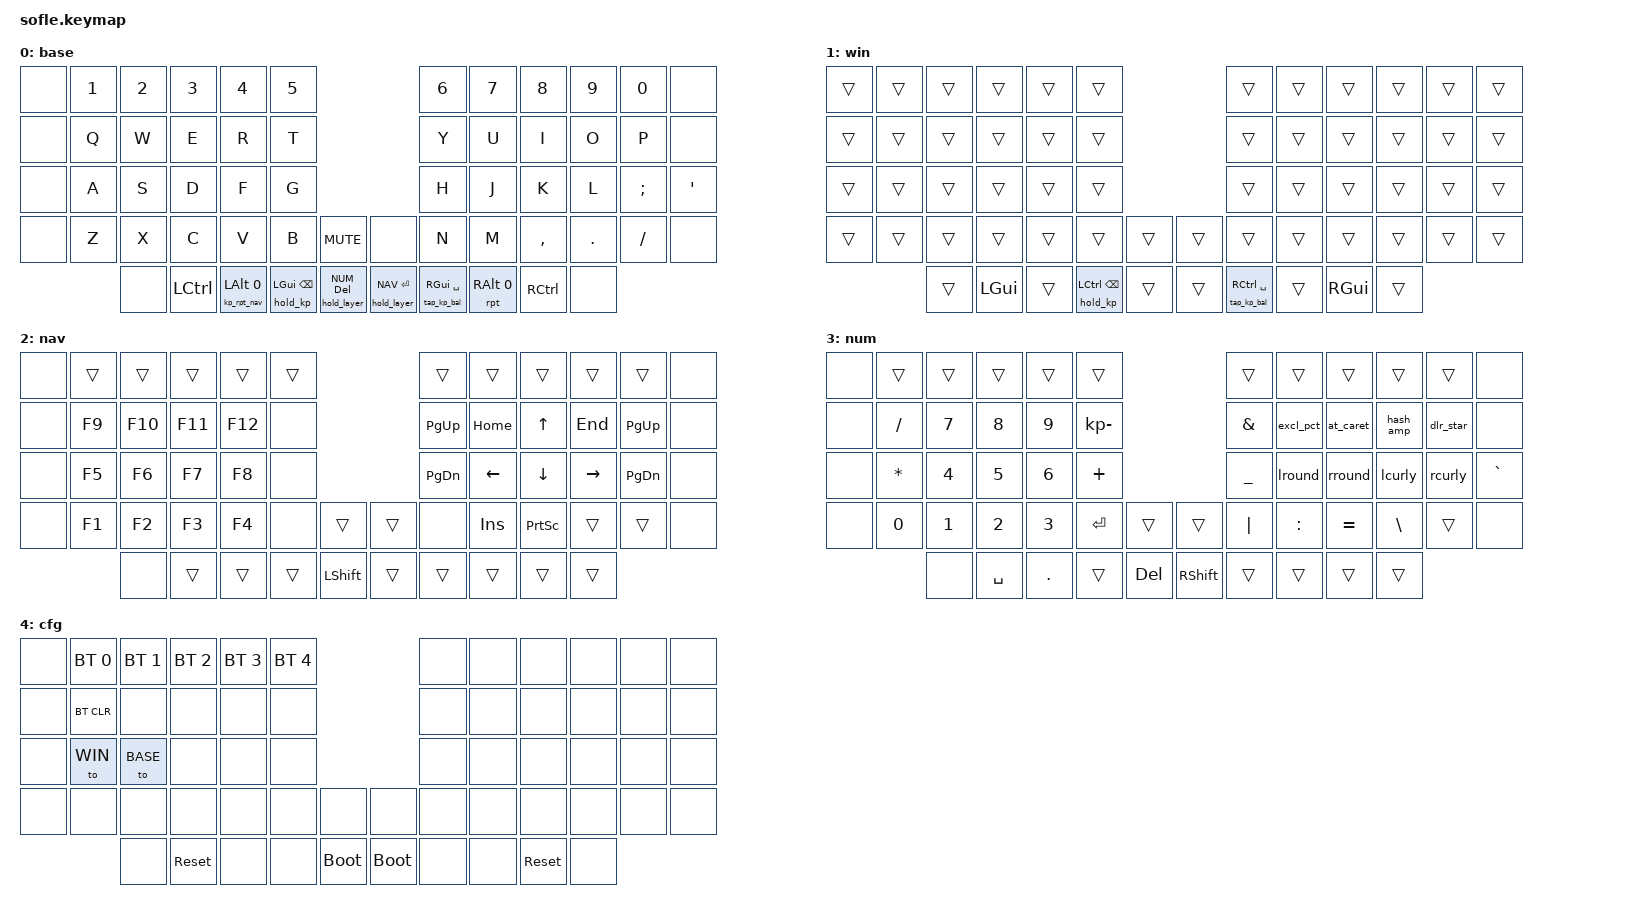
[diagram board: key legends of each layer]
/*
 * Copyright (c) 2020 The ZMK Contributors
 *
 * SPDX-License-Identifier: MIT
 */

#include <behaviors.dtsi>
#include <dt-bindings/zmk/keys.h>
#include <dt-bindings/zmk/bt.h>
#include "../zmk-nodefree-config/helper.h"
#include "../zmk-nodefree-config/keypos_def/keypos_60keys.h"

// layer shortcuts, must match order in which they are defined below
#define BASE 0
#define WIN 1
#define NAV 2
#define NUM 3
#define CFG 4

// Behaviours
#define TAPPING_TERM_MS 280
#define QUICK_TAP_MS 200

// Tap dance
ZMK_BEHAVIOR(rpt_mo, tap_dance,
    tapping-term-ms = <TAPPING_TERM_MS>;
    bindings = <&key_repeat>, <&mo NAV>;
)

// Hold taps
ZMK_BEHAVIOR(hold_kp, hold_tap,
    flavor = "hold-preferred";
    tapping-term-ms = <TAPPING_TERM_MS>;
    quick-tap-ms = <QUICK_TAP_MS>;
    bindings = <&kp>, <&kp>;
)
#define BK_GUI &hold_kp LGUI BSPC
#define BK_CTRL &hold_kp LCTRL BSPC

ZMK_BEHAVIOR(tap_kp_bal, hold_tap,
    flavor = "tap-preferred";
    tapping-term-ms = <TAPPING_TERM_MS>;
    quick-tap-ms = <QUICK_TAP_MS>;
    bindings = <&kp>, <&kp>;
)
#define SPC_GUI &tap_kp_bal RGUI SPACE
#define SPC_CTRL &tap_kp_bal RCTRL SPACE

ZMK_BEHAVIOR(rpt, hold_tap,
    flavor = "hold-preferred";
    tapping-term-ms = <TAPPING_TERM_MS>;
    quick-tap-ms = <QUICK_TAP_MS>;
    bindings = <&kp>, <&key_repeat>;
)
#define RPT_RALT &rpt RALT 0

ZMK_BEHAVIOR(kp_rpt_nav, hold_tap,
    flavor = "hold-preferred";
    tapping-term-ms = <TAPPING_TERM_MS>;
    quick-tap-ms = <QUICK_TAP_MS>;
    bindings = <&kp>, <&rpt_mo>;
)
#define NAV_RPT_LALT &kp_rpt_nav LALT 0

ZMK_BEHAVIOR(lalt_rpt, macro,
    bindings = <&rpt LALT 0>;
)

ZMK_BEHAVIOR(hold_layer, hold_tap,
    flavor = "hold-preferred";
    tapping-term-ms = <TAPPING_TERM_MS>;
    quick-tap-ms = <QUICK_TAP_MS>;
    bindings = <&mo>, <&kp>;
)
#define DEL_NUM &hold_layer NUM DEL
#define RET_NAV &hold_layer NAV RET

// Mod morphs
ZMK_BEHAVIOR(excl_pct, mod_morph,
    bindings = <&kp EXCL>, <&kp PRCNT>;
    mods = <(MOD_LSFT|MOD_RSFT)>;
)
ZMK_BEHAVIOR(at_caret, mod_morph,
    bindings = <&kp AT>, <&kp CARET>;
    mods = <(MOD_LSFT|MOD_RSFT)>;
)
ZMK_BEHAVIOR(hash_amp, mod_morph,
    bindings = <&kp HASH>, <&kp AMPS>;
    mods = <(MOD_LSFT|MOD_RSFT)>;
)
ZMK_BEHAVIOR(dlr_star, mod_morph,
    bindings = <&kp DLLR>, <&kp STAR>;
    mods = <(MOD_LSFT|MOD_RSFT)>;
)
ZMK_BEHAVIOR(lround, mod_morph,
    bindings = <&kp LPAR>, <&kp LBKT>;
    mods = <(MOD_LSFT|MOD_RSFT)>;
)
ZMK_BEHAVIOR(rround, mod_morph,
    bindings = <&kp RPAR>, <&kp RBKT>;
    mods = <(MOD_LSFT|MOD_RSFT)>;
)
ZMK_BEHAVIOR(lcurly, mod_morph,
    bindings = <&kp LBRC>, <&kp LT>;
    mods = <(MOD_LSFT|MOD_RSFT)>;
)
ZMK_BEHAVIOR(rcurly, mod_morph,
    bindings = <&kp RBRC>, <&kp GT>;
    mods = <(MOD_LSFT|MOD_RSFT)>;
)

// Num word
&num_word {
    layers = <NUM>;
};

// Caps word
&caps_word {
    continue-list = <UNDERSCORE BACKSPACE DELETE>;
};

// Sticky shift
&sk {
    release-after-ms = <2000>;
    quick-release;
};

#define combo_timeout 30
#define combo_timeout_long 60
#define combo_global_quick_tap 150
#define combo_global_quick_tap_long 300

/ {
    combos {
        compatible = "zmk,combos";
        combo_tab {
            timeout-ms = <combo_timeout>;
            global-quick-tap-ms = <combo_global_quick_tap>;
            key-positions = <LT1 LT2>;
            layers = <BASE WIN NAV NUM>;
            bindings = <&kp TAB>;
        };
        combo_shift_tab {
            timeout-ms = <combo_timeout>;
            global-quick-tap-ms = <combo_global_quick_tap>;
            key-positions = <LT2 LT3>;
            layers = <BASE WIN NAV NUM>;
            bindings = <&kp LS(TAB)>;
        };
        combo_esc {
            timeout-ms = <combo_timeout>;
            global-quick-tap-ms = <combo_global_quick_tap>;
            key-positions = <LT3 LT4>;
            layers = <BASE WIN NAV NUM>;
            bindings = <&kp ESC>;
        };
        combo_caps_word {
            timeout-ms = <combo_timeout_long>;
            key-positions = <RM2 RM3>;
            layers = <BASE WIN>;
            bindings = <&caps_word>;
        };
        combo_caps_lock {
            timeout-ms = <combo_timeout_long>;
            key-positions = <RM3 RM4>;
            layers = <BASE WIN>;
            bindings = <&kp CAPS>;
        };
        combo_num_word {
            timeout-ms = <combo_timeout>;
            global-quick-tap-ms = <combo_global_quick_tap>;
            key-positions = <LM2 LM3>;
            layers = <BASE WIN NUM>;
            bindings = <&num_word>;
        };
        combo_lshift {
            timeout-ms = <combo_timeout_long>;
            key-positions = <LM1 LM2>;
            layers = <BASE WIN NAV NUM>;
            bindings = <&kp LSHIFT>;
        };
        combo_sticky_lshift {
            timeout-ms = <combo_timeout_long>;
            global-quick-tap-ms = <combo_global_quick_tap>;
            key-positions = <LB2 LB3>;
            layers = <BASE WIN NAV NUM>;
            bindings = <&sk LSHIFT>;
        };
        combo_rshift {
            timeout-ms = <combo_timeout_long>;
            key-positions = <RM1 RM2>;
            layers = <BASE WIN NAV NUM>;
            bindings = <&kp RSHIFT>;
        };
        combo_LCFG {
            timeout-ms = <combo_timeout>;
            global-quick-tap-ms = <combo_global_quick_tap>;
            key-positions = <LN3 LN4>;
            layers = <BASE WIN NAV NUM>;
            bindings = <&tog CFG>;
        };
        combo_RCFG {
            timeout-ms = <combo_timeout>;
            global-quick-tap-ms = <combo_global_quick_tap>;
            key-positions = <RN3 RN4>;
            layers = <BASE WIN NAV NUM>;
            bindings = <&tog CFG>;
        };
        combo_LBASE {
            timeout-ms = <combo_timeout>;
            global-quick-tap-ms = <combo_global_quick_tap>;
            key-positions = <LB3 LB4>;
            layers = <BASE NAV NUM CFG>;
            bindings = <&to BASE>;
        };
        combo_RBASE {
            timeout-ms = <combo_timeout>;
            global-quick-tap-ms = <combo_global_quick_tap>;
            key-positions = <RB3 RB4>;
            layers = <BASE NAV NUM CFG>;
            bindings = <&to BASE>;
        };
        combo_NAV {
            timeout-ms = <combo_timeout>;
            global-quick-tap-ms = <combo_global_quick_tap>;
            key-positions = <RB1 RB2>;
            layers = <BASE WIN NAV>;
            bindings = <&tog NAV>;
        };
        combo_NUM {
            timeout-ms = <combo_timeout>;
            global-quick-tap-ms = <combo_global_quick_tap>;
            key-positions = <LB1 LB2>;
            layers = <BASE WIN NUM>;
            bindings = <&tog NUM>;
        };
    };

    behaviors {
        my_left_encoder: my_left_encoder {
            compatible = "zmk,behavior-sensor-rotate,alps,ec11";
            label = "LEFT_ENCODER";
            a-gpios = <&pro_micro 21 (GPIO_ACTIVE_HIGH | GPIO_PULL_UP)>;
            b-gpios = <&pro_micro 20 (GPIO_ACTIVE_HIGH | GPIO_PULL_UP)>;
            #sensor-binding-cells = <0>;
            steps = <80>;
            bindings = <&kp C_VOL_UP>, <&kp C_VOL_DN>;
        };

        my_right_encoder: my_right_encoder {
            compatible = "zmk,behavior-sensor-rotate,alps,ec11";
            label = "RIGHT_ENCODER";
            a-gpios = <&pro_micro 21 (GPIO_ACTIVE_HIGH | GPIO_PULL_UP)>;
            b-gpios = <&pro_micro 20 (GPIO_ACTIVE_HIGH | GPIO_PULL_UP)>;
            #sensor-binding-cells = <0>;
            steps = <80>;
            bindings = <&kp PG_UP>, <&kp PG_DN>;
        };
    };

    keymap {
        compatible = "zmk,keymap";

        base {
            bindings = <
//╭──────────┬──────────┬──────────┬──────────┬─────────────┬──────────╮                            ╭──────────┬──────────┬──────────┬──────────┬──────────┬──────────╮
//│          │  1       │  2       │  3       │  4          │  5       │                            │  6       │  7       │  8       │  9       │  0       │          │
    &none      &kp N1     &kp N2     &kp N3     &kp N4        &kp N5                                  &kp N6     &kp N7     &kp N8     &kp N9     &kp N0     &none
//├──────────┼──────────┼──────────┼──────────┼─────────────┼──────────┤                            ├──────────┼──────────┼──────────┼──────────┼──────────┼──────────┤
//│          │  Q       │  W       │  E       │  R          │  T       │                            │  Y       │  U       │  I       │  O       │  P       │          │
    &none      &kp Q      &kp W      &kp E      &kp R         &kp T                                   &kp Y      &kp U      &kp I      &kp O      &kp P      &none
//├──────────┼──────────┼──────────┼──────────┼─────────────┼──────────┤                            ├──────────┼──────────┼──────────┼──────────┼──────────┼──────────┤
//│          │  A       │  S       │  D       │  F          │  G       │                            │  H       │  J       │  K       │  L       │  ; :     │  ' "     │
    &none      &kp A      &kp S      &kp D      &kp F         &kp G                                   &kp H      &kp J      &kp K      &kp L      &kp SEMI   &kp APOS
//├──────────┼──────────┼──────────┼──────────┼─────────────┼──────────┤──────────╮     ╭───────────┼──────────┼──────────┼──────────┼──────────┼──────────┼──────────┤
//│          │  Z       │  X       │  C       │  V          │  B       │  MUTE    │     │           │  N       │  M       │  , <     │  . >     │  /       │          │
    &none      &kp Z      &kp X      &kp C      &kp V         &kp B      &kp C_MUTE       &none       &kp N      &kp M      &kp COMMA  &kp DOT    &kp FSLH   &none
//╰──────────┴──────────┼──────────┼──────────┼─────────────┼──────────┼──────────┼     ├───────────┼──────────┼──────────┼──────────┼──────────┼──────────┴──────────╯
//                      │          │  CTRL    │  ALT        │  BK/GUI  │  DEL/NUM │     │  ENTER/NAV│  SPC/GUI │  ALT     │  CTRL    │          │
                          &none      &kp LCTRL  NAV_RPT_LALT  BK_GUI     DEL_NUM          RET_NAV     SPC_GUI    RPT_RALT   &kp RCTRL  &none
//                      ╰──────────┴──────────┴─────────────┴──────────┴──────────╯     ╰───────────┴──────────┴──────────┴──────────┴──────────╯
            >;

            sensors {
                compatible = "zmk,keymap-sensors";
                sensors = <&my_left_encoder>;
                triggers-per-rotation = <20>;
            };
        };

        win {
            bindings = <
//╭───────────┬─────────────┬─────────────┬─────────────┬─────────────┬─────────────╮                           ╭──────────┬────────────┬────────────┬──────────┬──────────┬──────────╮
//│           │             │             │             │             │             │                           │          │            │            │          │          │          │
    &trans      &trans        &trans        &trans        &trans        &trans                                    &trans     &trans       &trans       &trans     &trans     &trans     
//├───────────┼─────────────┼─────────────┼─────────────┼─────────────┼─────────────┤                           ├──────────┼────────────┼────────────┼──────────┼──────────┼──────────┤
//│           │             │             │             │             │             │                           │          │            │            │          │          │          │
    &trans      &trans        &trans        &trans        &trans        &trans                                    &trans     &trans       &trans       &trans     &trans     &trans       
//├───────────┼─────────────┼─────────────┼─────────────┼─────────────┼─────────────┤                           ├──────────┼────────────┼────────────┼──────────┼──────────┼──────────┤
//│           │             │             │             │             │             │                           │          │            │            │          │          │          │
    &trans      &trans        &trans        &trans        &trans        &trans                                    &trans     &trans       &trans       &trans     &trans     &trans    
//├───────────┼─────────────┼─────────────┼─────────────┼─────────────┼─────────────┤──────────╮     ╭──────────┼──────────┼────────────┼────────────┼──────────┼──────────┼──────────┤
//│           │             │             │             │             │             │          │     │          │          │            │            │          │          │          │
    &trans      &trans        &trans        &trans        &trans        &trans        &trans           &trans     &trans     &trans       &trans       &trans     &trans     &trans
//╰───────────┴─────────────┼─────────────┼─────────────┼─────────────┼─────────────┼──────────┼     ├──────────┼──────────┼────────────┼────────────┼──────────┼──────────┴──────────╯
//                          │             │   GUI       │             │  BK/CTRL    │          │     │          │  SPC/CTRL│            │  GUI       │          │
                              &trans        &kp LGUI      &trans        BK_CTRL       &trans           &trans     SPC_CTRL   &trans       &kp RGUI     &trans
//                          ╰─────────────┴─────────────┴─────────────┴─────────────┴──────────╯     ╰──────────┴──────────┴────────────┴────────────┴──────────╯
            >;

            sensors {
                compatible = "zmk,keymap-sensors";
                sensors = <&my_left_encoder>;
                triggers-per-rotation = <20>;
            };
        };

        nav {
            bindings = <
//╭───────────┬───────────┬───────────┬───────────┬───────────┬───────────╮                             ╭───────────┬────────────┬───────────┬───────────┬───────────┬───────────╮
//│           │           │           │           │           │           │                             │           │            │           │           │           │           │
    &none       &trans      &trans      &trans      &trans      &trans                                    &trans      &trans       &trans      &trans      &trans      &none       
//├───────────┼───────────┼───────────┼───────────┼───────────┼───────────┤                             ├───────────┼────────────┼───────────┼───────────┼───────────┼───────────┤
//│           │  F9       │  F10      │  F11      │  F12      │           │                             │  PGUP     │  HOME      │  ^        │  END      │  PGUP     │           │
    &none       &kp F9      &kp F10     &kp F11     &kp F12     &none                                     &kp PG_UP   &kp HOME     &kp UP      &kp END     &kp PG_UP   &none         
//├───────────┼───────────┼───────────┼───────────┼───────────┼───────────┤                             ├───────────┼────────────┼───────────┼───────────├───────────┼───────────┤
//│           │  F5       │  F6       │  F7       │  F8       │           │                             │  PGDN     │  <-        │  v        │  ->       │  PGDN     │           │
    &none       &kp F5      &kp F6      &kp F7      &kp F8      &none                                     &kp PG_DN   &kp LEFT     &kp DOWN    &kp RIGHT   &kp PG_DN   &none   
//├───────────┼───────────┼───────────┼───────────┼───────────┼───────────┤───────────╮     ╭───────────┼───────────┼────────────┼───────────┼───────────┼───────────┼───────────┤
//│           │  F1       │  F2       │  F3       │  F4       │           │           │     │           │           │  INS       │  PSCR     │           │           │           │
    &none       &kp F1      &kp F2      &kp F3      &kp F4      &none       &trans            &trans      &none       &kp INS      &kp PSCRN   &trans      &trans      &none  
//╰───────────┴───────────┼───────────┼───────────┼───────────┼───────────┼───────────┼     ├───────────┼───────────┼────────────┼───────────┼───────────┼───────────┴───────────╯
//                        │           │           │           │           │  LSHFT    │     │           │           │            │           │           │
                            &none        &trans     &trans      &trans      &kp LSHFT         &trans      &trans      &trans       &trans      &trans
//                        ╰───────────┴───────────┴───────────┴───────────┴───────────╯     ╰───────────┴───────────┴────────────┴───────────┴───────────╯
            >;

            sensors {
                compatible = "zmk,keymap-sensors";
                sensors = <&my_left_encoder>;
                triggers-per-rotation = <20>;
            };
        };

        num {
            bindings = <
//╭──────────┬──────────┬───────────┬────────────┬────────────┬─────────────╮                           ╭──────────┬──────────┬──────────┬──────────┬──────────┬──────────╮
//│          │          │           │            │            │             │                           │          │          │          │          │          │          │
    &none      &trans     &trans      &trans       &trans       &trans                                    &trans     &trans     &trans     &trans     &trans     &none      
//├──────────┼──────────┼───────────┼────────────┼────────────┼─────────────┤                           ├──────────┼──────────┼──────────┼──────────┼──────────┼──────────┤
//│          │  /       │  7        │  8         │  9         │  -          │                           │  &       │  ! %     │  @ ^     │  # &     │  $ *     │          │
    &none      &kp FSLH   &kp N7      &kp N8       &kp N9       &kp KP_MINUS                              &kp AMPS   &excl_pct  &at_caret  &hash_amp  &dlr_star  &none
//├──────────┼──────────┼───────────┼────────────┼────────────┼─────────────┤                           ├──────────┼──────────┼──────────┼──────────┼──────────┼──────────┤
//│          │  *       │  4        │  5         │  6         │  +          │                           │  _       │  ( [     │  ) ]     │  { <     │  } >     │  ` ~     │
    &none      &kp STAR   &kp N4      &kp N5       &kp N6       &kp PLUS                                  &kp UNDER  &lround    &rround    &lcurly    &rcurly    &kp GRAVE
//├──────────┼──────────┼───────────┼────────────┼────────────┼─────────────┤──────────╮     ╭──────────┼──────────┼──────────┼──────────┼──────────┼──────────┼──────────┤
//│          │  0       │  1        │  2         │  3         │  ENTER      │          │     │          │  |       │  :       │  =       │  \ |     │          │          │
    &none      &kp N0     &kp N1      &kp N2       &kp N3       &kp RET       &trans           &trans     &kp PIPE   &kp COLON  &kp EQUAL  &kp BSLH   &trans     &none
//╰──────────┴──────────┼───────────┼────────────┼────────────┼─────────────┼──────────┼     ├──────────┼──────────┼──────────┼──────────┼──────────┼──────────┴──────────╯
//                      │           │  SPACE     │  .         │             │  DEL     │     │  RSHFT   │          │          │          │          │
                          &none       &kp SPACE    &kp DOT      &trans        &kp DEL          &kp RSHFT  &trans     &trans     &trans     &trans   
//                      ╰───────────┴────────────┴────────────┴─────────────┴──────────╯     ╰──────────┴──────────┴──────────┴──────────┴──────────╯
            >;

            sensors {
                compatible = "zmk,keymap-sensors";
                sensors = <&my_left_encoder>;
                triggers-per-rotation = <20>;
            };
        };

        cfg {
            bindings = <
//╭───────────┬─────────────┬─────────────┬─────────────┬─────────────┬─────────────╮                                ╭──────────┬────────────┬────────────┬──────────┬──────────┬──────────╮
//│           │  BT1        │  BT2        │  BT3        │  BT4        │  BT5        │                                │          │            │            │          │          │          │
    &none       &bt BT_SEL 0  &bt BT_SEL 1  &bt BT_SEL 2  &bt BT_SEL 3  &bt BT_SEL 4                                   &none      &none        &none        &none      &none      &none      
//├───────────┼─────────────┼─────────────┼─────────────┼─────────────┼─────────────┤                                ├──────────┼────────────┼────────────┼──────────┼──────────┼──────────┤
//│           │  BTCLR      │             │             │             │             │                                │          │            │            │          │          │          │
    &none       &bt BT_CLR    &none         &none         &none         &none                                          &none      &none        &none        &none      &none      &none        
//├───────────┼─────────────┼─────────────┼─────────────┼─────────────┼─────────────┤                                ├──────────┼────────────┼────────────┼──────────┼──────────┼──────────┤
//│           │             │             │             │             │             │                                │          │            │            │          │          │          │
    &none       &to WIN       &to BASE      &none         &none         &none                                          &none      &none        &none        &none      &none      &none     
//├───────────┼─────────────┼─────────────┼─────────────┼─────────────┼─────────────┤─────────────╮     ╭────────────┼──────────┼────────────┼────────────┼──────────┼──────────┼──────────┤
//│           │             │             │             │             │             │             │     │            │          │            │            │          │          │          │
    &none       &none         &none         &none         &none         &none         &none                 &none      &none      &none        &none        &none      &none      &none 
//╰───────────┴─────────────┼─────────────┼─────────────┼─────────────┼─────────────┼─────────────┼     ├────────────┼──────────┼────────────┼────────────┼──────────┼──────────┴──────────╯
//                          │             │  RESET      │             │             │  BOOTLDR    │     │  BOOTLDR   │          │            │  RESET     │          │
                              &none         &sys_reset    &none         &none         &bootloader         &bootloader  &none      &none        &sys_reset   &none 
//                          ╰─────────────┴─────────────┴─────────────┴─────────────┴─────────────╯     ╰────────────┴──────────┴────────────┴────────────┴──────────╯
            >;

            sensors {
                compatible = "zmk,keymap-sensors";
                sensors = <&my_left_encoder>;
                triggers-per-rotation = <20>;
            };
        };
    };
};
